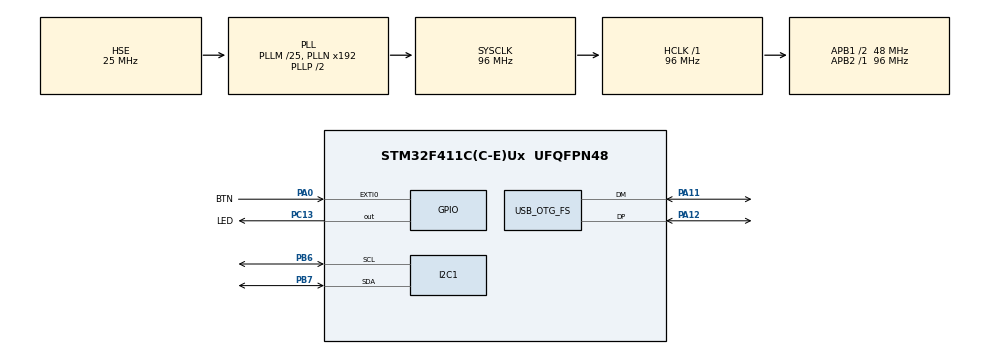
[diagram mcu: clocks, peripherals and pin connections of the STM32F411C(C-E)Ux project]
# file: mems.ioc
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FREERTOS.Mutexes01=serialMux,Dynamic,NULL
FREERTOS.Tasks01=mainTask,0,128,startMainTask,Default,NULL,Dynamic,NULL,NULL;ledTask,-2,128,startLedTask,Default,NULL,Dynamic,NULL,NULL;sensorTask,-3,128,startSensorTask,Default,NULL,Dynamic,NULL,NULL
FREERTOS.configENABLE_FPU=1
FREERTOS.configUSE_NEWLIB_REENTRANT=1
I2C1.I2C_Mode=I2C_Fast
I2C1.OwnAddress=I2C_MASTER_ADDR
Mcu.Family=STM32F4
Mcu.Name=STM32F411C(C-E)Ux
Mcu.Package=UFQFPN48
Mcu.UserConstants=I2C_MASTER_ADDR,0x10
NVIC.EXTI0_IRQn=true\:5\:0\:false\:false\:true\:true\:true\:true
NVIC.I2C1_ER_IRQn=true\:5\:0\:false\:false\:true\:true\:true\:true
NVIC.I2C1_EV_IRQn=true\:5\:0\:false\:false\:true\:true\:true\:true
NVIC.OTG_FS_IRQn=true\:5\:0\:false\:false\:true\:true\:false\:true
NVIC.PriorityGroup=NVIC_PRIORITYGROUP_4
NVIC.TIM1_UP_TIM10_IRQn=true\:15\:0\:false\:false\:true\:false\:false\:true
NVIC.TimeBase=TIM1_UP_TIM10_IRQn
NVIC.TimeBaseIP=TIM10
PA0-WKUP.GPIO_Label=BTN
PA0-WKUP.GPIO_ModeDefaultEXTI=GPIO_MODE_IT_RISING_FALLING
PA0-WKUP.GPIO_PuPd=GPIO_PULLUP
PA0-WKUP.Signal=GPXTI0
PA11.Mode=Device_Only
PA11.Signal=USB_OTG_FS_DM
PA12.Mode=Device_Only
PA12.Signal=USB_OTG_FS_DP
PA13.Mode=Serial_Wire
PA13.Signal=SYS_JTMS-SWDIO
PA14.Mode=Serial_Wire
PA14.Signal=SYS_JTCK-SWCLK
PB6.GPIO_Pu=GPIO_PULLUP
PB6.Mode=I2C
PB6.Signal=I2C1_SCL
PB7.GPIO_Pu=GPIO_PULLUP
PB7.Mode=I2C
PB7.Signal=I2C1_SDA
PC13-ANTI_TAMP.GPIO_Label=LED
PC13-ANTI_TAMP.GPIO_ModeDefaultOutputPP=GPIO_MODE_OUTPUT_OD
PC13-ANTI_TAMP.PinState=GPIO_PIN_SET
PC13-ANTI_TAMP.Signal=GPIO_Output
PH0\ -\ OSC_IN.Mode=HSE-External-Oscillator
PH0\ -\ OSC_IN.Signal=RCC_OSC_IN
PH1\ -\ OSC_OUT.Mode=HSE-External-Oscillator
PH1\ -\ OSC_OUT.Signal=RCC_OSC_OUT
ProjectManager.HeapSize=0x200
ProjectManager.StackSize=0x400
ProjectManager.TargetToolchain=STM32CubeIDE
RCC.48MHZClocksFreq_Value=48000000
RCC.AHBFreq_Value=96000000
RCC.APB1CLKDivider=RCC_HCLK_DIV2
RCC.APB1Freq_Value=48000000
RCC.APB1TimFreq_Value=96000000
RCC.APB2Freq_Value=96000000
RCC.APB2TimFreq_Value=96000000
RCC.CortexFreq_Value=96000000
RCC.HCLKFreq_Value=96000000
RCC.HSE_VALUE=25000000
RCC.HSI_VALUE=16000000
RCC.LSE_VALUE=32768
RCC.PLLM=25
RCC.SYSCLKFreq_VALUE=96000000
RCC.SYSCLKSource=RCC_SYSCLKSOURCE_PLLCLK
RCC.VCOOutputFreq_Value=192000000
USB_DEVICE.CLASS_NAME_FS=CDC
USB_DEVICE.MANUFACTURER_STRING=Lars Boegild Thomsen
USB_DEVICE.PRODUCT_STRING_CDC_FS=MEMS ComPort
USB_DEVICE.VirtualMode=Cdc
USB_DEVICE.VirtualModeFS=Cdc_FS
USB_OTG_FS.VirtualMode=Device_Only
VP_FREERTOS_VS_CMSIS_V1.Mode=CMSIS_V1
VP_SYS_VS_tim10.Mode=TIM10
VP_USB_DEVICE_VS_USB_DEVICE_CDC_FS.Mode=CDC_FS
board=custom

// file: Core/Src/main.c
/* USER CODE BEGIN Header */
/**
  ******************************************************************************
  * @file           : main.c
  * @brief          : Main program body
  ******************************************************************************
  * @attention
  *
  * <h2><center>&copy; Copyright (c) 2021 STMicroelectronics.
  * All rights reserved.</center></h2>
  *
  * This software component is licensed by ST under BSD 3-Clause license,
  * the "License"; You may not use this file except in compliance with the
  * License. You may obtain a copy of the License at:
  *                        opensource.org/licenses/BSD-3-Clause
  *
  ******************************************************************************
  */
/* USER CODE END Header */
#include "main.h"
#include "cmsis_os.h"
#include "usb_device.h"
#include "usb_device.h"

/* USER CODE BEGIN Includes */
#include "usbd_cdc_if.h"
#include "stdio.h"
#include "stdbool.h"
#include "BMP085.h"
/* USER CODE END Includes */

/* USER CODE BEGIN PD */
#define DFU_BOOT_FLAG 0xDEADBEEF
/* USER CODE END PD */

I2C_HandleTypeDef hi2c1;

osThreadId mainTaskHandle;
osThreadId ledTaskHandle;
osThreadId sensorTaskHandle;
osMutexId serialMuxHandle;
/* USER CODE BEGIN PV */
extern int _estack;
uint32_t *dfu_boot_flag;
uint32_t push_count = 0;
bool scan_trigger = false;
BMP085_HandleTypeDef BMP085 = {0};
/* USER CODE END PV */

void SystemClock_Config(void);
static void MX_GPIO_Init(void);
static void MX_I2C1_Init(void);
void startMainTask(void const * argument);
void startLedTask(void const * argument);
void startSensorTask(void const * argument);

/* USER CODE BEGIN 0 */
// Redirect printf to USB serial
int _write(int file, char *ptr, int len) {
	CDC_Transmit_FS((uint8_t *)ptr, len);
    return len;
}

void HAL_GPIO_EXTI_Callback(uint16_t GPIO_Pin) {
	if (GPIO_Pin == BTN_Pin) // If the button
	{
		GPIO_PinState pinState = HAL_GPIO_ReadPin(BTN_GPIO_Port, BTN_Pin);
		if (pinState == GPIO_PIN_RESET) {
			push_count = HAL_GetTick();
		} else {
			if (HAL_GetTick() - push_count > 1000) {
				// Set the boot flag and reset the mcu.  The bootloader
				// will detect the flag and stay in dfu mode.
				*dfu_boot_flag = DFU_BOOT_FLAG;
				HAL_NVIC_SystemReset();
			}

			scan_trigger = true;

			push_count = 0;
		}

	}
}
/* USER CODE END 0 */

int main(void)
{
  /* USER CODE BEGIN 1 */
  dfu_boot_flag = (uint32_t *)(&_estack - 100); // 100 bytes below top of stack
  /* USER CODE END 1 */

  /* MCU Configuration--------------------------------------------------------*/

  /* Reset of all peripherals, Initializes the Flash interface and the Systick. */
  HAL_Init();

  /* Configure the system clock */
  SystemClock_Config();

  /* Initialize all configured peripherals */
  MX_GPIO_Init();
  MX_I2C1_Init();
  /* USER CODE BEGIN 2 */

//  // Let's wait a sec before we get started
//  HAL_Delay(3000);
//
//  printf("Starting application\n");
//
//  // Go through all possible i2c addresses
//  for (uint8_t i = 0; i < 128; i++) {
//
//	  if (HAL_I2C_IsDeviceReady(&hi2c1, (uint16_t)(i<<1), 3, 5) == HAL_OK) {
//		  // We got an ack
//		  printf("%2x ", i<<1);
//	  } else {
//		  printf("-- ");
//	  }
//
//	  if (i > 0 && (i + 1) % 16 == 0) printf("\n");
//
//  }
//
//  printf("\n");

  BMP085_init(&BMP085, &hi2c1);

//  // Let's deal with the pressure/temp sensor
//  uint8_t ptbuf[22] = {0};
//  ptbuf[0] = 0xAA;
//  HAL_I2C_Master_Transmit(&hi2c1, 0xee, (uint8_t*)&ptbuf, 1, 100);
//  HAL_I2C_Master_Receive(&hi2c1, 0xee, (uint8_t*)&ptbuf, 22, 100);
//
//  ptbuf[0] = 0xF4;
//  ptbuf[1] = 0x2E;
//
//  HAL_I2C_Master_Transmit(&hi2c1, 0xee, (uint8_t*)&ptbuf, 2, 100);
//
//  HAL_Delay(5);
//
//  ptbuf[0] = 0xF6;
//  HAL_I2C_Master_Transmit(&hi2c1, 0xef, (uint8_t*)&ptbuf, 1, 100);
//  HAL_I2C_Master_Receive(&hi2c1, 0xee, (uint8_t*)&ptbuf, 2, 100);
//
//  ptbuf[0] = 0xF4;
//  ptbuf[1] = 0x34;
//
//  HAL_I2C_Master_Transmit(&hi2c1, 0xef, (uint8_t*)&ptbuf, 2, 100);
//
//  HAL_Delay(5);
//
//  ptbuf[0] = 0xF6;
//  HAL_I2C_Master_Transmit(&hi2c1, 0xef, (uint8_t*)&ptbuf, 1, 100);
//  HAL_I2C_Master_Receive(&hi2c1, 0xee, (uint8_t*)&ptbuf, 3, 100);
//
//
//  asm("NOP");

  /* USER CODE END 2 */

  /* Create the mutex(es) */
  /* definition and creation of serialMux */
  osMutexDef(serialMux);
  serialMuxHandle = osMutexCreate(osMutex(serialMux));

  /* Create the thread(s) */
  /* definition and creation of mainTask */
  osThreadDef(mainTask, startMainTask, osPriorityNormal, 0, 128);
  mainTaskHandle = osThreadCreate(osThread(mainTask), NULL);

  /* definition and creation of ledTask */
  osThreadDef(ledTask, startLedTask, osPriorityLow, 0, 128);
  ledTaskHandle = osThreadCreate(osThread(ledTask), NULL);

  /* definition and creation of sensorTask */
  osThreadDef(sensorTask, startSensorTask, osPriorityIdle, 0, 128);
  sensorTaskHandle = osThreadCreate(osThread(sensorTask), NULL);

  /* Start scheduler */
  osKernelStart();

  /* We should never get here as control is now taken by the scheduler */
  /* Infinite loop */
  while (1)
  {

  }
}

void SystemClock_Config(void)
{
  RCC_OscInitTypeDef RCC_OscInitStruct = {0};
  RCC_ClkInitTypeDef RCC_ClkInitStruct = {0};

  /** Configure the main internal regulator output voltage
  */
  __HAL_RCC_PWR_CLK_ENABLE();
  __HAL_PWR_VOLTAGESCALING_CONFIG(PWR_REGULATOR_VOLTAGE_SCALE1);
  /** Initializes the RCC Oscillators according to the specified parameters
  * in the RCC_OscInitTypeDef structure.
  */
  RCC_OscInitStruct.OscillatorType = RCC_OSCILLATORTYPE_HSE;
  RCC_OscInitStruct.HSEState = RCC_HSE_ON;
  RCC_OscInitStruct.PLL.PLLState = RCC_PLL_ON;
  RCC_OscInitStruct.PLL.PLLSource = RCC_PLLSOURCE_HSE;
  RCC_OscInitStruct.PLL.PLLM = 25;
  RCC_OscInitStruct.PLL.PLLN = 192;
  RCC_OscInitStruct.PLL.PLLP = RCC_PLLP_DIV2;
  RCC_OscInitStruct.PLL.PLLQ = 4;
  if (HAL_RCC_OscConfig(&RCC_OscInitStruct) != HAL_OK)
  {
    Error_Handler();
  }
  /** Initializes the CPU, AHB and APB buses clocks
  */
  RCC_ClkInitStruct.ClockType = RCC_CLOCKTYPE_HCLK|RCC_CLOCKTYPE_SYSCLK
                              |RCC_CLOCKTYPE_PCLK1|RCC_CLOCKTYPE_PCLK2;
  RCC_ClkInitStruct.SYSCLKSource = RCC_SYSCLKSOURCE_PLLCLK;
  RCC_ClkInitStruct.AHBCLKDivider = RCC_SYSCLK_DIV1;
  RCC_ClkInitStruct.APB1CLKDivider = RCC_HCLK_DIV2;
  RCC_ClkInitStruct.APB2CLKDivider = RCC_HCLK_DIV1;

  if (HAL_RCC_ClockConfig(&RCC_ClkInitStruct, FLASH_LATENCY_3) != HAL_OK)
  {
    Error_Handler();
  }
}

static void MX_I2C1_Init(void)
{

  hi2c1.Instance = I2C1;
  hi2c1.Init.ClockSpeed = 400000;
  hi2c1.Init.DutyCycle = I2C_DUTYCYCLE_2;
  hi2c1.Init.OwnAddress1 = 32;
  hi2c1.Init.AddressingMode = I2C_ADDRESSINGMODE_7BIT;
  hi2c1.Init.DualAddressMode = I2C_DUALADDRESS_DISABLE;
  hi2c1.Init.OwnAddress2 = 0;
  hi2c1.Init.GeneralCallMode = I2C_GENERALCALL_DISABLE;
  hi2c1.Init.NoStretchMode = I2C_NOSTRETCH_DISABLE;
  if (HAL_I2C_Init(&hi2c1) != HAL_OK)
  {
    Error_Handler();
  }

}

static void MX_GPIO_Init(void)
{
  GPIO_InitTypeDef GPIO_InitStruct = {0};

  /* GPIO Ports Clock Enable */
  __HAL_RCC_GPIOC_CLK_ENABLE();
  __HAL_RCC_GPIOH_CLK_ENABLE();
  __HAL_RCC_GPIOA_CLK_ENABLE();
  __HAL_RCC_GPIOB_CLK_ENABLE();

  /*Configure GPIO pin Output Level */
  HAL_GPIO_WritePin(LED_GPIO_Port, LED_Pin, GPIO_PIN_SET);

  /*Configure GPIO pin : LED_Pin */
  GPIO_InitStruct.Pin = LED_Pin;
  GPIO_InitStruct.Mode = GPIO_MODE_OUTPUT_OD;
  GPIO_InitStruct.Pull = GPIO_NOPULL;
  GPIO_InitStruct.Speed = GPIO_SPEED_FREQ_LOW;
  HAL_GPIO_Init(LED_GPIO_Port, &GPIO_InitStruct);

  /*Configure GPIO pin : BTN_Pin */
  GPIO_InitStruct.Pin = BTN_Pin;
  GPIO_InitStruct.Mode = GPIO_MODE_IT_RISING_FALLING;
  GPIO_InitStruct.Pull = GPIO_PULLUP;
  HAL_GPIO_Init(BTN_GPIO_Port, &GPIO_InitStruct);

  /* EXTI interrupt init*/
  HAL_NVIC_SetPriority(EXTI0_IRQn, 5, 0);
  HAL_NVIC_EnableIRQ(EXTI0_IRQn);

}

void startMainTask(void const * argument)
{
  /* init code for USB_DEVICE */
  MX_USB_DEVICE_Init();
  /* USER CODE BEGIN 5 */
  /* Infinite loop */
  for(;;)
  {
	DBG("Tick %lu - temp = %0.1f", osKernelSysTick() / 1000, (float)BMP085.temperature / 10);
    osDelay(1000);
  }
  /* USER CODE END 5 */
}

void startLedTask(void const * argument)
{
  /* USER CODE BEGIN startLedTask */
  /* Infinite loop */
  for(;;)
  {
	HAL_GPIO_TogglePin(LED_GPIO_Port, LED_Pin);
    osDelay(500);
  }
  /* USER CODE END startLedTask */
}

void startSensorTask(void const * argument)
{
  /* USER CODE BEGIN startSensorTask */
  /* Infinite loop */
  for(;;)
  {
	BMP085_tick(&BMP085);
    osDelay(1);
  }
  /* USER CODE END startSensorTask */
}

void HAL_TIM_PeriodElapsedCallback(TIM_HandleTypeDef *htim)
{
  if (htim->Instance == TIM10) {
    HAL_IncTick();
  }
}

void Error_Handler(void)
{
  __disable_irq();
  while (1)
  {
  }
}

/************************ (C) COPYRIGHT STMicroelectronics *****END OF FILE****/
